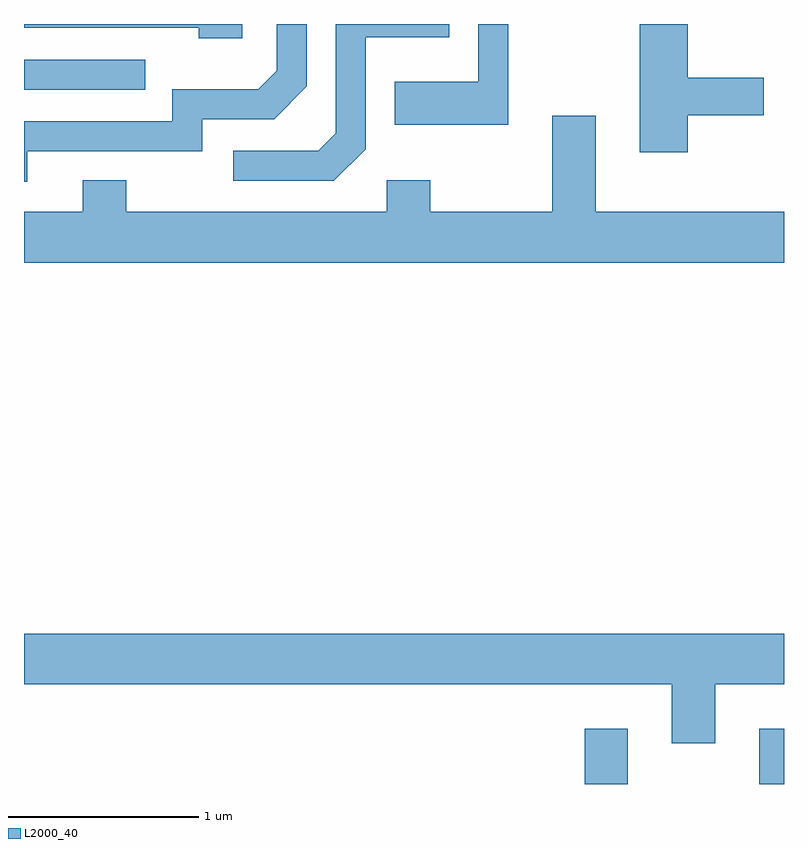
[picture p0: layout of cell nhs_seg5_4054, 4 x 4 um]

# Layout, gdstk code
import gdstk
lib = gdstk.Library(unit=1e-6, precision=1e-09)
def R(c, l, rs):  # rectangles x0, y0, x1, y1
    for r in rs: c.add(gdstk.rectangle(r[:2], r[2:], *l))
def P(c, l, *ps):  # polygons
    for p in ps: c.add(gdstk.Polygon(p, *l))
L2000_40 = (2000, 40)

nhs_seg5_4054 = lib.new_cell('nhs_seg5_4054')
R(nhs_seg5_4054, L2000_40, [(308.561,1434.072,308.789,1434.364), (309.481,1434.072,309.611,1434.364), (305.611,1437.726,306.248,1437.884)])
P(nhs_seg5_4054, L2000_40, [(309.104,1437.591),(309.504,1437.591),(309.504,1437.789),(309.104,1437.789),(309.104,1438.072),(308.851,1438.072),(308.851,1437.396),(309.104,1437.396)],
  [(306.759,1438.072),(305.611,1438.072),(305.611,1438.051),(306.531,1438.051),(306.531,1437.996),(306.759,1437.996)],
  [(305.629,1437.401),(306.549,1437.401),(306.549,1437.571),(306.927,1437.571),(307.099,1437.744),(307.099,1438.072),(306.941,1438.072),(306.941,1437.827),(306.844,1437.729),(306.391,1437.729),(306.391,1437.559),(305.611,1437.559),(305.611,1437.241),(305.629,1437.241)],
  [(308.159,1438.072),(308.001,1438.072),(308.001,1437.769),(307.561,1437.769),(307.561,1437.541),(308.159,1437.541)],
  [(307.409,1437.414),(307.409,1438.001),(307.849,1438.001),(307.849,1438.072),(307.251,1438.072),(307.251,1437.497),(307.159,1437.404),(306.713,1437.404),(306.713,1437.246),(307.242,1437.246)],
  [(309.611,1437.084),(308.619,1437.084),(308.619,1437.589),(308.391,1437.589),(308.391,1437.084),(307.749,1437.084),(307.749,1437.249),(307.521,1437.249),(307.521,1437.084),(306.149,1437.084),(306.149,1437.249),(305.921,1437.249),(305.921,1437.084),(305.611,1437.084),(305.611,1436.816),(309.611,1436.816)],
  [(309.249,1434.596),(309.611,1434.596),(309.611,1434.864),(305.611,1434.864),(305.611,1434.596),(309.021,1434.596),(309.021,1434.286),(309.249,1434.286)])

lib.write_gds('nhs_seg5_4054.gds')
